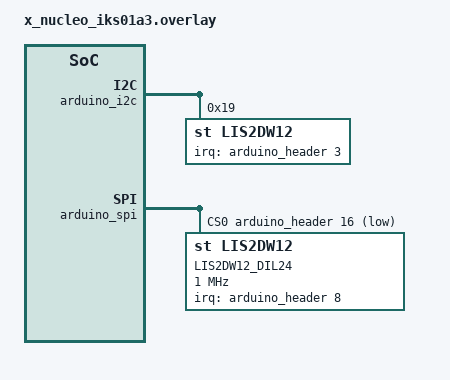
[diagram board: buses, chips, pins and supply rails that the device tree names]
/*
 * Copyright (c) 2019 STMicroelectronics
 *
 * SPDX-License-Identifier: Apache-2.0
 */

&arduino_i2c {

	lis2dw12@19 {
		compatible = "st,lis2dw12";
		reg = <0x19>;
		irq-gpios =  <&arduino_header 3 GPIO_ACTIVE_HIGH>; /* A3 */
		label = "LIS2DW12";
		power-mode = <4>;
	};
};

#if 1
&arduino_spi {
	status = "okay";
	cs-gpios = <&arduino_header 16 GPIO_ACTIVE_LOW>;                        /* D10 */

	lis2dw12@0 {
		status = "ok";
		compatible = "st,lis2dw12";
		reg = <0x0>;
		label = "LIS2DW12_DIL24";
		spi-max-frequency = <1000000>;
		irq-gpios = <&arduino_header 8 GPIO_ACTIVE_HIGH>;       /* D2 */
		int-pin = <2>;
		tap-mode = <0>;
		tap-threshold = <14>, <14>, <14>;
		tap-shock = <0>;
		tap-latency = <0>;
		tap-quiet = <1>;
		power-mode = <4>;
	};
};
#endif
